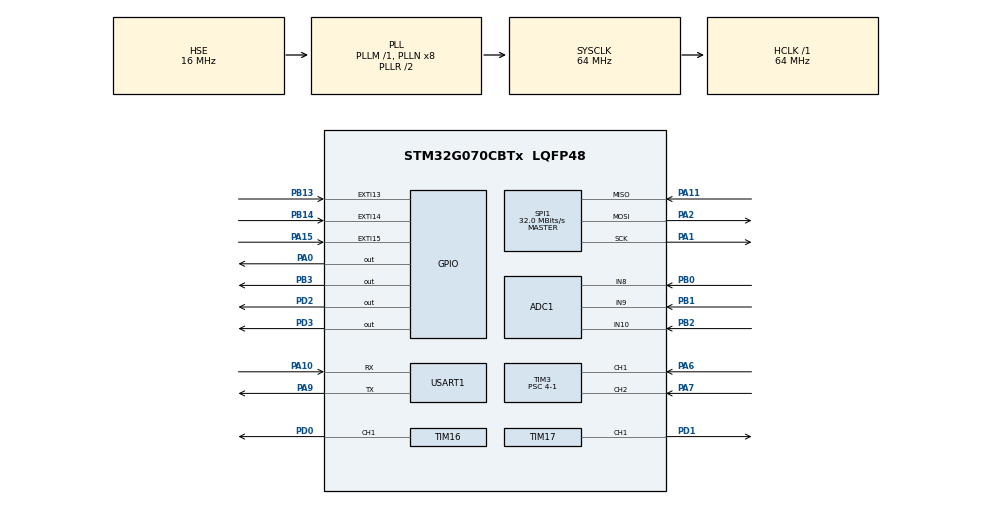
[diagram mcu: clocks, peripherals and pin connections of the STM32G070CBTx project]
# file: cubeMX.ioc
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ADC1.Channel-1\#ChannelRegularConversion=ADC_CHANNEL_8
ADC1.NbrOfConversionFlag=1
ADC1.Rank-1\#ChannelRegularConversion=1
ADC1.SamplingTime-1\#ChannelRegularConversion=ADC_SAMPLINGTIME_COMMON_1
ADC1.SelectedChannel=ADC_CHANNEL_8|ADC_CHANNEL_9|ADC_CHANNEL_10
ADC1.master=1
Mcu.Family=STM32G0
Mcu.Name=STM32G070CBTx
Mcu.Package=LQFP48
NVIC.EXTI4_15_IRQn=true\:0\:0\:false\:false\:true\:true\:true\:true
NVIC.SPI1_IRQn=true\:0\:0\:false\:false\:true\:true\:true\:true
NVIC.TIM1_BRK_UP_TRG_COM_IRQn=true\:0\:0\:false\:false\:true\:true\:true\:true
NVIC.TIM3_IRQn=true\:0\:0\:false\:false\:true\:true\:true\:true
NVIC.TIM6_IRQn=true\:0\:0\:false\:false\:true\:true\:true\:true
NVIC.TIM7_IRQn=true\:0\:0\:false\:false\:true\:true\:true\:true
NVIC.USART1_IRQn=true\:0\:0\:false\:false\:true\:true\:true\:true
PA0.GPIO_PuPd=GPIO_PULLUP
PA0.GPIO_Speed=GPIO_SPEED_FREQ_VERY_HIGH
PA0.PinState=GPIO_PIN_RESET
PA0.Signal=GPIO_Output
PA1.GPIO_PuPd=GPIO_PULLUP
PA1.GPIO_Speed=GPIO_SPEED_FREQ_VERY_HIGH
PA1.Mode=Full_Duplex_Master
PA1.PinState=GPIO_PIN_SET
PA1.Signal=SPI1_SCK
PA10.Mode=Asynchronous
PA10.Signal=USART1_RX
PA11\ [PA9].GPIO_PuPd=GPIO_PULLUP
PA11\ [PA9].GPIO_Speed=GPIO_SPEED_FREQ_VERY_HIGH
PA11\ [PA9].Mode=Full_Duplex_Master
PA11\ [PA9].PinState=GPIO_PIN_SET
PA11\ [PA9].Signal=SPI1_MISO
PA13.Mode=Serial_Wire
PA13.Signal=SYS_SWDIO
PA14-BOOT0.Mode=Serial_Wire
PA14-BOOT0.Signal=SYS_SWCLK
PA15.GPIO_ModeDefaultEXTI=GPIO_MODE_IT_FALLING
PA15.GPIO_PuPd=GPIO_PULLUP
PA15.Signal=GPXTI15
PA2.GPIO_PuPd=GPIO_PULLUP
PA2.GPIO_Speed=GPIO_SPEED_FREQ_VERY_HIGH
PA2.Mode=Full_Duplex_Master
PA2.PinState=GPIO_PIN_SET
PA2.Signal=SPI1_MOSI
PA6.GPIO_PuPd=GPIO_PULLUP
PA6.Signal=S_TIM3_CH1
PA7.GPIO_PuPd=GPIO_PULLUP
PA7.Signal=S_TIM3_CH2
PA9.Mode=Asynchronous
PA9.Signal=USART1_TX
PB0.Mode=IN8
PB0.Signal=ADC1_IN8
PB1.Mode=IN9
PB1.Signal=ADC1_IN9
PB13.GPIO_ModeDefaultEXTI=GPIO_MODE_IT_FALLING
PB13.GPIO_PuPd=GPIO_PULLUP
PB13.Signal=GPXTI13
PB14.GPIO_ModeDefaultEXTI=GPIO_MODE_IT_FALLING
PB14.GPIO_PuPd=GPIO_PULLUP
PB14.Signal=GPXTI14
PB2.Mode=IN10
PB2.Signal=ADC1_IN10
PB3.GPIO_PuPd=GPIO_PULLUP
PB3.GPIO_Speed=GPIO_SPEED_FREQ_HIGH
PB3.Signal=GPIO_Output
PD0.Signal=S_TIM16_CH1
PD1.Signal=S_TIM17_CH1
PD2.GPIO_PuPd=GPIO_PULLUP
PD2.GPIO_Speed=GPIO_SPEED_FREQ_VERY_HIGH
PD2.Signal=GPIO_Output
PD3.GPIO_PuPd=GPIO_PULLUP
PD3.GPIO_Speed=GPIO_SPEED_FREQ_HIGH
PD3.Signal=GPIO_Output
PF0-OSC_IN\ (PF0).Mode=HSE-External-Oscillator
PF0-OSC_IN\ (PF0).Signal=RCC_OSC_IN
PF1-OSC_OUT\ (PF1).Mode=HSE-External-Oscillator
PF1-OSC_OUT\ (PF1).Signal=RCC_OSC_OUT
ProjectManager.HeapSize=0x400
ProjectManager.StackSize=0x2000
ProjectManager.TargetToolchain=MDK-ARM V5.27
RCC.ADCFreq_Value=64000000
RCC.AHBFreq_Value=64000000
RCC.CortexFreq_Value=64000000
RCC.EXTERNAL_CLOCK_VALUE=48000
RCC.HCLKFreq_Value=64000000
RCC.HSE_VALUE=16000000
RCC.HSI_VALUE=16000000
RCC.LSE_VALUE=32768
RCC.PLLSourceVirtual=RCC_PLLSOURCE_HSE
RCC.SYSCLKFreq_VALUE=64000000
RCC.SYSCLKSource=RCC_SYSCLKSOURCE_PLLCLK
RCC.VCOOutputFreq_Value=128000000
SH.S_TIM16_CH1.0=TIM16_CH1,PWM Generation1 CH1
SH.S_TIM17_CH1.0=TIM17_CH1,PWM Generation1 CH1
SH.S_TIM3_CH1.0=TIM3_CH1,Encoder_Interface
SH.S_TIM3_CH2.0=TIM3_CH2,Encoder_Interface
SPI1.BaudRatePrescaler=SPI_BAUDRATEPRESCALER_2
SPI1.CLKPolarity=SPI_POLARITY_HIGH
SPI1.CalculateBaudRate=32.0 MBits/s
SPI1.DataSize=SPI_DATASIZE_8BIT
SPI1.Direction=SPI_DIRECTION_2LINES
SPI1.Mode=SPI_MODE_MASTER
SPI1.VirtualType=VM_MASTER
STMicroelectronics.X-CUBE-DISPLAY.3.0.0.BSP.number=3
STMicroelectronics.X-CUBE-DISPLAY.3.0.0.p_oswrapper=NoOS
STMicroelectronics.X-CUBE-DISPLAY.3.0.00.BSP.STBoard=false
STMicroelectronics.X-CUBE-DISPLAY.3.0.00.BSP.api=Unknown
STMicroelectronics.X-CUBE-DISPLAY.3.0.00.BSP.condition=SEMDISPLAYCcBoardOoPartJjLCDJjST7789VJjSPI | SEMDISPLAYCcBoardOoPartJjLCDJjST7789VJjFMC
STMicroelectronics.X-CUBE-DISPLAY.3.0.00.BSP.instance=PB3
STMicroelectronics.X-CUBE-DISPLAY.3.0.00.BSP.ip=GPIO
STMicroelectronics.X-CUBE-DISPLAY.3.0.00.BSP.mode=Output
STMicroelectronics.X-CUBE-DISPLAY.3.0.00.BSP.name=LCD RESET Pin
STMicroelectronics.X-CUBE-DISPLAY.3.0.00.BSP.solution=PB3
STMicroelectronics.X-CUBE-DISPLAY.3.0.01.BSP.STBoard=false
STMicroelectronics.X-CUBE-DISPLAY.3.0.01.BSP.api=Unknown
STMicroelectronics.X-CUBE-DISPLAY.3.0.01.BSP.condition=SEMDISPLAYCcBoardOoPartJjLCDJjST7789VJjSPI
STMicroelectronics.X-CUBE-DISPLAY.3.0.01.BSP.instance=PD2
STMicroelectronics.X-CUBE-DISPLAY.3.0.01.BSP.ip=GPIO
STMicroelectronics.X-CUBE-DISPLAY.3.0.01.BSP.mode=Output
STMicroelectronics.X-CUBE-DISPLAY.3.0.01.BSP.name=LCD CS Pin
STMicroelectronics.X-CUBE-DISPLAY.3.0.01.BSP.solution=PD2
STMicroelectronics.X-CUBE-DISPLAY.3.0.02.BSP.STBoard=false
STMicroelectronics.X-CUBE-DISPLAY.3.0.02.BSP.api=Unknown
STMicroelectronics.X-CUBE-DISPLAY.3.0.02.BSP.condition=SEMDISPLAYCcBoardOoPartJjLCDJjST7789VJjSPI
STMicroelectronics.X-CUBE-DISPLAY.3.0.02.BSP.instance=PD3
STMicroelectronics.X-CUBE-DISPLAY.3.0.02.BSP.ip=GPIO
STMicroelectronics.X-CUBE-DISPLAY.3.0.02.BSP.mode=Output
STMicroelectronics.X-CUBE-DISPLAY.3.0.02.BSP.name=LCD DCX Pin
STMicroelectronics.X-CUBE-DISPLAY.3.0.02.BSP.solution=PD3
STMicroelectronics.X-CUBE-DISPLAY.3.0.0_IsPackSelfContextualization=true
STMicroelectronics.X-CUBE-TOUCHGFX.4.22.0.tgfx_custom_height=240
STMicroelectronics.X-CUBE-TOUCHGFX.4.22.0.tgfx_custom_width=240
STMicroelectronics.X-CUBE-TOUCHGFX.4.22.0_IsPackSelfContextualization=true
TIM1.Period=10
TIM1.Prescaler=63
TIM1.RepetitionCounter=999
TIM16.Channel=TIM_CHANNEL_1
TIM17.Channel=TIM_CHANNEL_1
TIM17.Period=99
TIM17.Prescaler=237
TIM17.Pulse=20
TIM3.EncoderMode=TIM_ENCODERMODE_TI12
TIM3.IC1Filter=15
TIM3.IC2Filter=15
TIM3.Prescaler=4-1
TIM3.TIM_MasterOutputTrigger=TIM_TRGO_RESET
TIM3.TIM_MasterSlaveMode=TIM_MASTERSLAVEMODE_DISABLE
TIM6.Period=999
TIM6.Prescaler=63
TIM7.Period=999
TIM7.Prescaler=639
USART1.VirtualMode-Asynchronous=VM_ASYNC
VP_SYS_VS_DBSignals.Mode=DisableDeadBatterySignals
VP_TIM16_VS_ClockSourceINT.Mode=Enable_Timer
VP_TIM17_VS_ClockSourceINT.Mode=Enable_Timer
VP_TIM1_VS_ClockSourceINT.Mode=Internal
VP_TIM6_VS_ClockSourceINT.Mode=Enable_Timer
VP_TIM7_VS_ClockSourceINT.Mode=Enable_Timer
board=custom

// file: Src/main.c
/* USER CODE BEGIN Header */
/**
 ******************************************************************************
 * @file                     : main.c
 * @brief                    : Main program body
 ******************************************************************************
 * @attention
 *
 * Copyright (c) 2023 STMicroelectronics.
 * All rights reserved.
 *
 * This software is licensed under terms that can be found in the LICENSE file
 * in the root directory of this software component.
 * If no LICENSE file comes with this software, it is provided AS-IS.
 *
 ******************************************************************************
 */
/* USER CODE END Header */
#include "main.h"
#include "adc.h"
#include "spi.h"
#include "tim.h"
#include "usart.h"
#include "gpio.h"

/* USER CODE BEGIN Includes */
#include "lcd.h"
#include "UI.h"
extern uint16_t ec11_count;
/* USER CODE END Includes */

void SystemClock_Config(void);

int main(void)
{
    /* USER CODE BEGIN 1 */
    uint8_t hour, minute;
    /* USER CODE END 1 */

    /* MCU Configuration--------------------------------------------------------*/

    /* Reset of all peripherals, Initializes the Flash interface and the Systick. */
    HAL_Init();

    /* Configure the system clock */
    SystemClock_Config();

    /* Initialize all configured peripherals */
    MX_GPIO_Init();
    MX_ADC1_Init();
    MX_TIM3_Init();
    MX_TIM16_Init();
    MX_TIM17_Init();
    MX_USART1_UART_Init();
    MX_TIM1_Init();
    MX_TIM6_Init();
    MX_SPI1_Init();
    MX_TIM7_Init();
    /* USER CODE BEGIN 2 */
    HAL_TIM_Encoder_Start_IT(&htim3, TIM_CHANNEL_ALL);
    LCD_Init();
    Main_Page_Init();
    //    HAL_TIM_PWM_Start(&htim17, TIM_CHANNEL_1);
    /* USER CODE END 2 */

    /* Infinite loop */
    /* USER CODE BEGIN WHILE */
    while (1)
    {
        minute = HAL_GetTick() / 1000 / 60;
        hour = minute / 60;
        minute = minute - hour * 60;
        UI_ShowNum_font24(48, 0, hour, 2, 1, 0, BLUE);
        UI_ShowNum_font24(96, 0, minute, 2, 1, 1, BLUE);
        // UI_ShowChar_font68x104(27, 36, 0, RED);
        UI_ShowTemperature(30, 36, 321, GREEN);
        UI_ShowTargetTemperature(30, 150, 123, YELLOW);
        UI_ShowNum_font24(202, 219, 666, 3, 1, 0, BROWN);
        UI_ShowNum_font24(180, 175, ec11_count, 3, 1, 0, RED);
        UI_SetBarValue(ec11_count);
        /* USER CODE END WHILE */

    }
}

void SystemClock_Config(void)
{
    RCC_OscInitTypeDef RCC_OscInitStruct = {0};
    RCC_ClkInitTypeDef RCC_ClkInitStruct = {0};

    /** Configure the main internal regulator output voltage
     */
    HAL_PWREx_ControlVoltageScaling(PWR_REGULATOR_VOLTAGE_SCALE1);

    /** Initializes the RCC Oscillators according to the specified parameters
     * in the RCC_OscInitTypeDef structure.
     */
    RCC_OscInitStruct.OscillatorType = RCC_OSCILLATORTYPE_HSE;
    RCC_OscInitStruct.HSEState = RCC_HSE_ON;
    RCC_OscInitStruct.PLL.PLLState = RCC_PLL_ON;
    RCC_OscInitStruct.PLL.PLLSource = RCC_PLLSOURCE_HSE;
    RCC_OscInitStruct.PLL.PLLM = RCC_PLLM_DIV1;
    RCC_OscInitStruct.PLL.PLLN = 8;
    RCC_OscInitStruct.PLL.PLLP = RCC_PLLP_DIV2;
    RCC_OscInitStruct.PLL.PLLR = RCC_PLLR_DIV2;
    if (HAL_RCC_OscConfig(&RCC_OscInitStruct) != HAL_OK)
    {
        Error_Handler();
    }

    /** Initializes the CPU, AHB and APB buses clocks
     */
    RCC_ClkInitStruct.ClockType = RCC_CLOCKTYPE_HCLK | RCC_CLOCKTYPE_SYSCLK | RCC_CLOCKTYPE_PCLK1;
    RCC_ClkInitStruct.SYSCLKSource = RCC_SYSCLKSOURCE_PLLCLK;
    RCC_ClkInitStruct.AHBCLKDivider = RCC_SYSCLK_DIV1;
    RCC_ClkInitStruct.APB1CLKDivider = RCC_HCLK_DIV1;

    if (HAL_RCC_ClockConfig(&RCC_ClkInitStruct, FLASH_LATENCY_2) != HAL_OK)
    {
        Error_Handler();
    }
}

void Error_Handler(void)
{
    __disable_irq();
    while (1)
    {
    }
}
